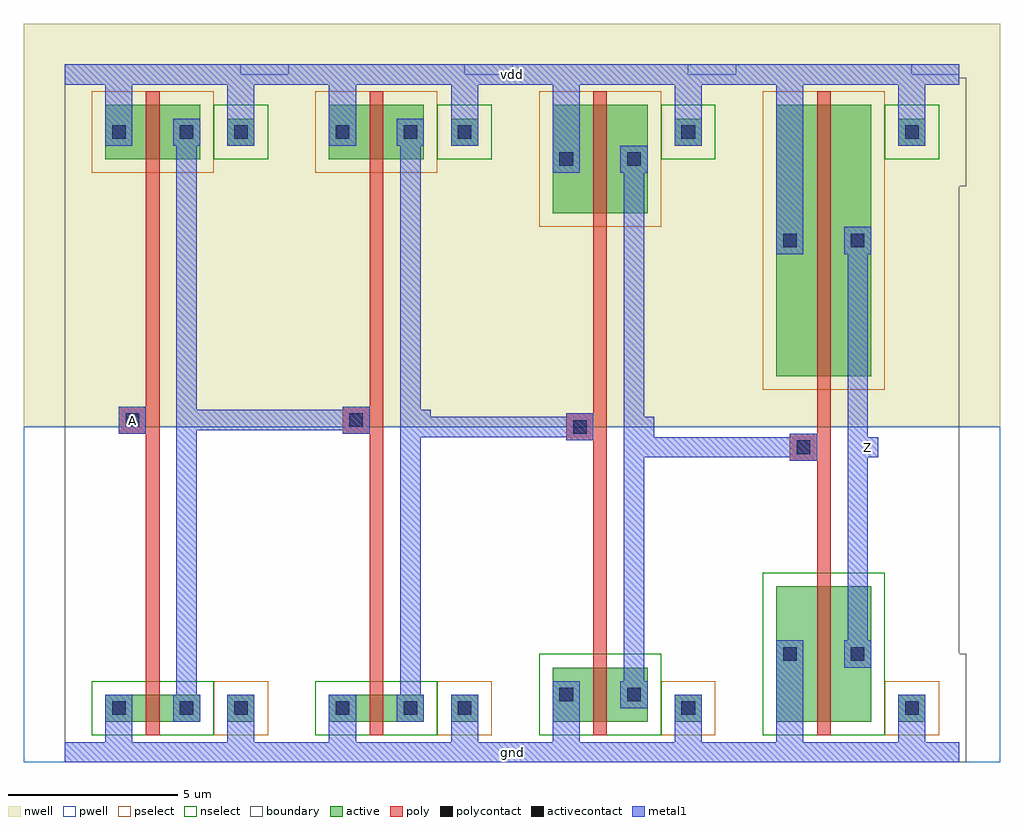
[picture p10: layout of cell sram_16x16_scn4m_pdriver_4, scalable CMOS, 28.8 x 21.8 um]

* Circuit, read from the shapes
.subckt sram_16x16_scn4m_pdriver_4 A Z gnd vdd
M1 sram_16x16_scn4m_pinv_5_1/A A gnd gnd nfet w=0.8u l=0.4u
M2 sram_16x16_scn4m_pinv_13_2/A sram_16x16_scn4m_pinv_5_1/A gnd gnd nfet w=0.8u l=0.4u
M3 sram_16x16_scn4m_pinv_9_3/A sram_16x16_scn4m_pinv_13_2/A gnd gnd nfet w=1.6u l=0.4u
M4 Z sram_16x16_scn4m_pinv_9_3/A gnd gnd nfet w=4u l=0.4u
M5 sram_16x16_scn4m_pinv_5_1/A A vdd vdd pfet w=1.6u l=0.4u
M6 sram_16x16_scn4m_pinv_13_2/A sram_16x16_scn4m_pinv_5_1/A vdd vdd pfet w=1.6u l=0.4u
M7 sram_16x16_scn4m_pinv_9_3/A sram_16x16_scn4m_pinv_13_2/A vdd vdd pfet w=3.2u l=0.4u
M8 Z sram_16x16_scn4m_pinv_9_3/A vdd vdd pfet w=8u l=0.4u
.ends

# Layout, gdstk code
import gdstk
lib = gdstk.Library(unit=1e-6, precision=1e-09)
def R(c, l, rs):  # rectangles x0, y0, x1, y1
    for r in rs: c.add(gdstk.rectangle(r[:2], r[2:], *l))
pwell = (41, 0)
nwell = (42, 0)
active = (43, 0)
pselect = (44, 0)
nselect = (45, 0)
poly = (46, 0)
polycontact = (47, 0)
activecontact = (48, 0)
metal1 = (49, 0)
boundary = (63, 0)

sram_16x16_scn4m_contact = lib.new_cell('sram_16x16_scn4m_contact_12')
R(sram_16x16_scn4m_contact, nwell, [(-1.2,-1.2,2,2)])
R(sram_16x16_scn4m_contact, active, [(0,0,0.8,0.8)])
R(sram_16x16_scn4m_contact, pselect, [(-0.4,-0.4,1.2,1.2)])
R(sram_16x16_scn4m_contact, activecontact, [(0.2,0.2,0.6,0.6)])
R(sram_16x16_scn4m_contact, metal1, [(0,0,0.8,0.8)])
R(sram_16x16_scn4m_contact, boundary, [(-1.2,-1.2,2,2)])

sram_16x16_scn4m_pmos_m1 = lib.new_cell('sram_16x16_scn4m_pmos_m1_w1_600_sm1_dm1_da_p')
R(sram_16x16_scn4m_pmos_m1, nwell, [(-1.2,-1.2,4,2.8)])
R(sram_16x16_scn4m_pmos_m1, active, [(0,0,2.8,1.6)])
R(sram_16x16_scn4m_pmos_m1, pselect, [(-0.4,-0.4,3.2,2)])
R(sram_16x16_scn4m_pmos_m1, poly, [(1.2,-0.4,1.6,2), (1.2,-0.4,1.6,2)])
R(sram_16x16_scn4m_pmos_m1, metal1, [(0,0.4,0.8,1.2), (2,0.4,2.8,1.2)])
R(sram_16x16_scn4m_pmos_m1, boundary, [(-1.2,-1.2,4,2.8)])
sram_16x16_scn4m_pmos_m1.add(gdstk.Reference(sram_16x16_scn4m_contact, (0,0.4)))
sram_16x16_scn4m_pmos_m1.add(gdstk.Reference(sram_16x16_scn4m_contact, (2,0.4)))
sram_16x16_scn4m_pmos_m1.add(gdstk.Label('G', (1.4,0.8), layer=46, texttype=0))
sram_16x16_scn4m_pmos_m1.add(gdstk.Label('S', (0.4,0.8), layer=49, texttype=0))
sram_16x16_scn4m_pmos_m1.add(gdstk.Label('D', (2.4,0.8), layer=49, texttype=0))

c_sram_16x16_scn4m_contact = lib.new_cell('sram_16x16_scn4m_contact_11')
R(c_sram_16x16_scn4m_contact, pwell, [(-1.2,-1.2,2,2)])
R(c_sram_16x16_scn4m_contact, active, [(0,0,0.8,0.8)])
R(c_sram_16x16_scn4m_contact, nselect, [(-0.4,-0.4,1.2,1.2)])
R(c_sram_16x16_scn4m_contact, activecontact, [(0.2,0.2,0.6,0.6)])
R(c_sram_16x16_scn4m_contact, metal1, [(0,0,0.8,0.8)])
R(c_sram_16x16_scn4m_contact, boundary, [(-1.2,-1.2,2,2)])

sram_16x16_scn4m_nmos_m1 = lib.new_cell('sram_16x16_scn4m_nmos_m1_w0_800_sm1_dm1_da_p')
R(sram_16x16_scn4m_nmos_m1, pwell, [(-1.2,-1.2,4,2)])
R(sram_16x16_scn4m_nmos_m1, active, [(0,0,2.8,0.8)])
R(sram_16x16_scn4m_nmos_m1, nselect, [(-0.4,-0.4,3.2,1.2)])
R(sram_16x16_scn4m_nmos_m1, poly, [(1.2,-0.4,1.6,1.2), (1.2,-0.4,1.6,1.2)])
R(sram_16x16_scn4m_nmos_m1, metal1, [(0,0,0.8,0.8), (2,0,2.8,0.8)])
R(sram_16x16_scn4m_nmos_m1, boundary, [(-1.2,-1.2,4,2)])
sram_16x16_scn4m_nmos_m1.add(gdstk.Reference(c_sram_16x16_scn4m_contact, (0,0)))
sram_16x16_scn4m_nmos_m1.add(gdstk.Reference(c_sram_16x16_scn4m_contact, (2,0)))
sram_16x16_scn4m_nmos_m1.add(gdstk.Label('G', (1.4,0.4), layer=46, texttype=0))
sram_16x16_scn4m_nmos_m1.add(gdstk.Label('S', (0.4,0.4), layer=49, texttype=0))
sram_16x16_scn4m_nmos_m1.add(gdstk.Label('D', (2.4,0.4), layer=49, texttype=0))

c_sram_16x16_scn4m_contact_ = lib.new_cell('sram_16x16_scn4m_contact_13')
R(c_sram_16x16_scn4m_contact_, nwell, [(-1.2,-1.2,2,2)])
R(c_sram_16x16_scn4m_contact_, active, [(0,0,0.8,0.8)])
R(c_sram_16x16_scn4m_contact_, nselect, [(-0.4,-0.4,1.2,1.2)])
R(c_sram_16x16_scn4m_contact_, activecontact, [(0.2,0.2,0.6,0.6)])
R(c_sram_16x16_scn4m_contact_, metal1, [(0,0,0.8,0.8)])
R(c_sram_16x16_scn4m_contact_, boundary, [(-1.2,-1.2,2,2)])

c_sram_16x16_scn4m_contact__ = lib.new_cell('sram_16x16_scn4m_contact_14')
R(c_sram_16x16_scn4m_contact__, pwell, [(-1.2,-1.2,2,2)])
R(c_sram_16x16_scn4m_contact__, active, [(0,0,0.8,0.8)])
R(c_sram_16x16_scn4m_contact__, pselect, [(-0.4,-0.4,1.2,1.2)])
R(c_sram_16x16_scn4m_contact__, activecontact, [(0.2,0.2,0.6,0.6)])
R(c_sram_16x16_scn4m_contact__, metal1, [(0,0,0.8,0.8)])
R(c_sram_16x16_scn4m_contact__, boundary, [(-1.2,-1.2,2,2)])

c_sram_16x16_scn4m_contact___ = lib.new_cell('sram_16x16_scn4m_contact_15')
R(c_sram_16x16_scn4m_contact___, poly, [(0,0,0.8,0.8)])
R(c_sram_16x16_scn4m_contact___, polycontact, [(0.2,0.2,0.6,0.6)])
R(c_sram_16x16_scn4m_contact___, metal1, [(0,0,0.8,0.8)])
R(c_sram_16x16_scn4m_contact___, boundary, [(0,0,0.8,0.8)])

sram_16x16_scn4m_pinv_5 = lib.new_cell('sram_16x16_scn4m_pinv_5')
R(sram_16x16_scn4m_pinv_5, pwell, [(-1.2,-0.3,7.8,9.6)])
R(sram_16x16_scn4m_pinv_5, nwell, [(-1.2,9.6,7.8,21.5)])
R(sram_16x16_scn4m_pinv_5, poly, [(2.4,2.1,2.8,17.1), (2,9.4,2.4,10.2)])
R(sram_16x16_scn4m_pinv_5, metal1, [(0,-0.3,6.6,0.3), (1.2,-0.3,2,0.9), (4.8,0,5.6,1.3), (3.3,0.9,3.9,18.7), (1.6,9.4,2.4,10.2), (3.6,9.5,4.2,10.1), (1.2,17.9,2,20.3), (4.8,18.3,5.6,20), (0,19.7,6.6,20.3)])
R(sram_16x16_scn4m_pinv_5, boundary, [(0,0,6.6,20), (0,0,6.6,20)])
sram_16x16_scn4m_pinv_5.add(gdstk.Reference(sram_16x16_scn4m_pmos_m1, (1.2,17.5)))
sram_16x16_scn4m_pinv_5.add(gdstk.Reference(sram_16x16_scn4m_nmos_m1, (1.2,0.9)))
sram_16x16_scn4m_pinv_5.add(gdstk.Reference(c_sram_16x16_scn4m_contact_, (4.8,17.9)))
sram_16x16_scn4m_pinv_5.add(gdstk.Reference(c_sram_16x16_scn4m_contact__, (4.8,0.9)))
sram_16x16_scn4m_pinv_5.add(gdstk.Reference(c_sram_16x16_scn4m_contact___, (1.6,9.4)))
sram_16x16_scn4m_pinv_5.add(gdstk.Label('A', (2,9.8), layer=49, texttype=0))
sram_16x16_scn4m_pinv_5.add(gdstk.Label('Z', (3.9,9.8), layer=49, texttype=0))
sram_16x16_scn4m_pinv_5.add(gdstk.Label('gnd', (3.3,0), layer=49, texttype=0))
sram_16x16_scn4m_pinv_5.add(gdstk.Label('vdd', (3.3,20), layer=49, texttype=0))

c_sram_16x16_scn4m_pmos_m1 = lib.new_cell('sram_16x16_scn4m_pmos_m1_w3_200_sm1_dm1_da_p')
R(c_sram_16x16_scn4m_pmos_m1, nwell, [(-1.2,-1.2,4,4.4)])
R(c_sram_16x16_scn4m_pmos_m1, active, [(0,0,2.8,3.2)])
R(c_sram_16x16_scn4m_pmos_m1, pselect, [(-0.4,-0.4,3.2,3.6)])
R(c_sram_16x16_scn4m_pmos_m1, poly, [(1.2,-0.4,1.6,3.6), (1.2,-0.4,1.6,3.6)])
R(c_sram_16x16_scn4m_pmos_m1, metal1, [(0,1.2,0.8,2), (2,1.2,2.8,2)])
R(c_sram_16x16_scn4m_pmos_m1, boundary, [(-1.2,-1.2,4,4.4)])
c_sram_16x16_scn4m_pmos_m1.add(gdstk.Reference(sram_16x16_scn4m_contact, (0,1.2)))
c_sram_16x16_scn4m_pmos_m1.add(gdstk.Reference(sram_16x16_scn4m_contact, (2,1.2)))
c_sram_16x16_scn4m_pmos_m1.add(gdstk.Label('G', (1.4,1.6), layer=46, texttype=0))
c_sram_16x16_scn4m_pmos_m1.add(gdstk.Label('S', (0.4,1.6), layer=49, texttype=0))
c_sram_16x16_scn4m_pmos_m1.add(gdstk.Label('D', (2.4,1.6), layer=49, texttype=0))

c_sram_16x16_scn4m_nmos_m1 = lib.new_cell('sram_16x16_scn4m_nmos_m1_w1_600_sm1_dm1_da_p')
R(c_sram_16x16_scn4m_nmos_m1, pwell, [(-1.2,-1.2,4,2.8)])
R(c_sram_16x16_scn4m_nmos_m1, active, [(0,0,2.8,1.6)])
R(c_sram_16x16_scn4m_nmos_m1, nselect, [(-0.4,-0.4,3.2,2)])
R(c_sram_16x16_scn4m_nmos_m1, poly, [(1.2,-0.4,1.6,2), (1.2,-0.4,1.6,2)])
R(c_sram_16x16_scn4m_nmos_m1, metal1, [(0,0.4,0.8,1.2), (2,0.4,2.8,1.2)])
R(c_sram_16x16_scn4m_nmos_m1, boundary, [(-1.2,-1.2,4,2.8)])
c_sram_16x16_scn4m_nmos_m1.add(gdstk.Reference(c_sram_16x16_scn4m_contact, (0,0.4)))
c_sram_16x16_scn4m_nmos_m1.add(gdstk.Reference(c_sram_16x16_scn4m_contact, (2,0.4)))
c_sram_16x16_scn4m_nmos_m1.add(gdstk.Label('G', (1.4,0.8), layer=46, texttype=0))
c_sram_16x16_scn4m_nmos_m1.add(gdstk.Label('S', (0.4,0.8), layer=49, texttype=0))
c_sram_16x16_scn4m_nmos_m1.add(gdstk.Label('D', (2.4,0.8), layer=49, texttype=0))

sram_16x16_scn4m_pinv_13 = lib.new_cell('sram_16x16_scn4m_pinv_13')
R(sram_16x16_scn4m_pinv_13, pwell, [(-1.2,-0.3,7.8,9.6)])
R(sram_16x16_scn4m_pinv_13, nwell, [(-1.2,9.6,7.8,21.5)])
R(sram_16x16_scn4m_pinv_13, poly, [(2.4,2.9,2.8,15.5), (2,9.2,2.4,10)])
R(sram_16x16_scn4m_pinv_13, metal1, [(0,-0.3,6.6,0.3), (1.2,-0.3,2,1.3), (4.8,0,5.6,1.3), (3.3,1.3,3.9,17.9), (1.6,9.2,2.4,10), (3.6,9.3,4.2,9.9), (1.2,17.1,2,20.3), (4.8,18.3,5.6,20), (0,19.7,6.6,20.3)])
R(sram_16x16_scn4m_pinv_13, boundary, [(0,0,6.6,20), (0,0,6.6,20)])
sram_16x16_scn4m_pinv_13.add(gdstk.Reference(c_sram_16x16_scn4m_pmos_m1, (1.2,15.9)))
sram_16x16_scn4m_pinv_13.add(gdstk.Reference(c_sram_16x16_scn4m_nmos_m1, (1.2,0.9)))
sram_16x16_scn4m_pinv_13.add(gdstk.Reference(c_sram_16x16_scn4m_contact_, (4.8,17.9)))
sram_16x16_scn4m_pinv_13.add(gdstk.Reference(c_sram_16x16_scn4m_contact__, (4.8,0.9)))
sram_16x16_scn4m_pinv_13.add(gdstk.Reference(c_sram_16x16_scn4m_contact___, (1.6,9.2)))
sram_16x16_scn4m_pinv_13.add(gdstk.Label('A', (2,9.6), layer=49, texttype=0))
sram_16x16_scn4m_pinv_13.add(gdstk.Label('Z', (3.9,9.6), layer=49, texttype=0))
sram_16x16_scn4m_pinv_13.add(gdstk.Label('gnd', (3.3,0), layer=49, texttype=0))
sram_16x16_scn4m_pinv_13.add(gdstk.Label('vdd', (3.3,20), layer=49, texttype=0))

c_sram_16x16_scn4m_pmos_m1_ = lib.new_cell('sram_16x16_scn4m_pmos_m1_w8_000_sm1_dm1_da_p')
R(c_sram_16x16_scn4m_pmos_m1_, nwell, [(-1.2,-1.2,4,9.2)])
R(c_sram_16x16_scn4m_pmos_m1_, active, [(0,0,2.8,8)])
R(c_sram_16x16_scn4m_pmos_m1_, pselect, [(-0.4,-0.4,3.2,8.4)])
R(c_sram_16x16_scn4m_pmos_m1_, poly, [(1.2,-0.4,1.6,8.4), (1.2,-0.4,1.6,8.4)])
R(c_sram_16x16_scn4m_pmos_m1_, metal1, [(0,3.6,0.8,4.4), (2,3.6,2.8,4.4)])
R(c_sram_16x16_scn4m_pmos_m1_, boundary, [(-1.2,-1.2,4,9.2)])
c_sram_16x16_scn4m_pmos_m1_.add(gdstk.Reference(sram_16x16_scn4m_contact, (0,3.6)))
c_sram_16x16_scn4m_pmos_m1_.add(gdstk.Reference(sram_16x16_scn4m_contact, (2,3.6)))
c_sram_16x16_scn4m_pmos_m1_.add(gdstk.Label('G', (1.4,4), layer=46, texttype=0))
c_sram_16x16_scn4m_pmos_m1_.add(gdstk.Label('S', (0.4,4), layer=49, texttype=0))
c_sram_16x16_scn4m_pmos_m1_.add(gdstk.Label('D', (2.4,4), layer=49, texttype=0))

c_sram_16x16_scn4m_nmos_m1_ = lib.new_cell('sram_16x16_scn4m_nmos_m1_w4_000_sm1_dm1_da_p')
R(c_sram_16x16_scn4m_nmos_m1_, pwell, [(-1.2,-1.2,4,5.2)])
R(c_sram_16x16_scn4m_nmos_m1_, active, [(0,0,2.8,4)])
R(c_sram_16x16_scn4m_nmos_m1_, nselect, [(-0.4,-0.4,3.2,4.4)])
R(c_sram_16x16_scn4m_nmos_m1_, poly, [(1.2,-0.4,1.6,4.4), (1.2,-0.4,1.6,4.4)])
R(c_sram_16x16_scn4m_nmos_m1_, metal1, [(0,1.6,0.8,2.4), (2,1.6,2.8,2.4)])
R(c_sram_16x16_scn4m_nmos_m1_, boundary, [(-1.2,-1.2,4,5.2)])
c_sram_16x16_scn4m_nmos_m1_.add(gdstk.Reference(c_sram_16x16_scn4m_contact, (0,1.6)))
c_sram_16x16_scn4m_nmos_m1_.add(gdstk.Reference(c_sram_16x16_scn4m_contact, (2,1.6)))
c_sram_16x16_scn4m_nmos_m1_.add(gdstk.Label('G', (1.4,2), layer=46, texttype=0))
c_sram_16x16_scn4m_nmos_m1_.add(gdstk.Label('S', (0.4,2), layer=49, texttype=0))
c_sram_16x16_scn4m_nmos_m1_.add(gdstk.Label('D', (2.4,2), layer=49, texttype=0))

sram_16x16_scn4m_pinv_9 = lib.new_cell('sram_16x16_scn4m_pinv_9')
R(sram_16x16_scn4m_pinv_9, pwell, [(-1.2,-0.3,7.8,9.6)])
R(sram_16x16_scn4m_pinv_9, nwell, [(-1.2,9.6,7.8,21.5)])
R(sram_16x16_scn4m_pinv_9, poly, [(2.4,5.3,2.8,10.7), (2,8.6,2.4,9.4)])
R(sram_16x16_scn4m_pinv_9, metal1, [(0,-0.3,6.6,0.3), (1.2,-0.3,2,2.5), (4.8,0,5.6,1.3), (3.3,2.5,3.9,15.5), (1.6,8.6,2.4,9.4), (3.6,8.7,4.2,9.3), (1.2,14.7,2,20.3), (4.8,18.3,5.6,20), (0,19.7,6.6,20.3)])
R(sram_16x16_scn4m_pinv_9, boundary, [(0,0,6.6,20), (0,0,6.6,20)])
sram_16x16_scn4m_pinv_9.add(gdstk.Reference(c_sram_16x16_scn4m_pmos_m1_, (1.2,11.1)))
sram_16x16_scn4m_pinv_9.add(gdstk.Reference(c_sram_16x16_scn4m_nmos_m1_, (1.2,0.9)))
sram_16x16_scn4m_pinv_9.add(gdstk.Reference(c_sram_16x16_scn4m_contact_, (4.8,17.9)))
sram_16x16_scn4m_pinv_9.add(gdstk.Reference(c_sram_16x16_scn4m_contact__, (4.8,0.9)))
sram_16x16_scn4m_pinv_9.add(gdstk.Reference(c_sram_16x16_scn4m_contact___, (1.6,8.6)))
sram_16x16_scn4m_pinv_9.add(gdstk.Label('A', (2,9), layer=49, texttype=0))
sram_16x16_scn4m_pinv_9.add(gdstk.Label('Z', (3.9,9), layer=49, texttype=0))
sram_16x16_scn4m_pinv_9.add(gdstk.Label('gnd', (3.3,0), layer=49, texttype=0))
sram_16x16_scn4m_pinv_9.add(gdstk.Label('vdd', (3.3,20), layer=49, texttype=0))

sram_16x16_scn4m_pdriver = lib.new_cell('sram_16x16_scn4m_pdriver_4')
R(sram_16x16_scn4m_pdriver, pwell, [(-1.2,-0.3,27.6,9.6)])
R(sram_16x16_scn4m_pdriver, nwell, [(-1.2,9.6,27.6,21.5)])
R(sram_16x16_scn4m_pdriver, metal1, [(0,-0.3,26.4,0.3), (16.8,8.7,17.4,9.3), (17.1,8.7,21.8,9.3), (23.4,8.7,24,9.3), (16.8,9,17.4,9.6), (10.2,9.3,10.8,9.9), (10.5,9.3,15.2,9.9), (1.6,9.4,2.4,10.2), (3.9,9.5,8.6,10.1), (10.2,9.6,10.8,9.8), (0,19.7,26.4,20.3)])
R(sram_16x16_scn4m_pdriver, boundary, [(0,0,26.4,20), (0,0,26.4,20)])
sram_16x16_scn4m_pdriver.add(gdstk.Reference(sram_16x16_scn4m_pinv_5, (0,0)))
sram_16x16_scn4m_pdriver.add(gdstk.Reference(sram_16x16_scn4m_pinv_5, (6.6,0)))
sram_16x16_scn4m_pdriver.add(gdstk.Reference(sram_16x16_scn4m_pinv_13, (13.2,0)))
sram_16x16_scn4m_pdriver.add(gdstk.Reference(sram_16x16_scn4m_pinv_9, (19.8,0)))
sram_16x16_scn4m_pdriver.add(gdstk.Label('Z', (23.7,9), layer=49, texttype=0))
sram_16x16_scn4m_pdriver.add(gdstk.Label('A', (2,9.8), layer=49, texttype=0))
sram_16x16_scn4m_pdriver.add(gdstk.Label('gnd', (13.2,0), layer=49, texttype=0))
sram_16x16_scn4m_pdriver.add(gdstk.Label('vdd', (13.2,20), layer=49, texttype=0))

lib.write_gds('sram_16x16_scn4m_pdriver_4.gds')
